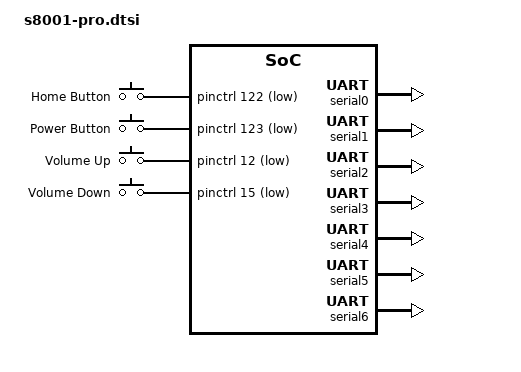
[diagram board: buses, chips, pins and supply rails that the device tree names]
// SPDX-License-Identifier: GPL-2.0+ OR MIT
/*
 * Apple iPad Pro common device tree
 *
 * Copyright (c) 2022, Konrad Dybcio <konrad.dybcio@somainline.org>
 */

#include "s8001.dtsi"
#include <dt-bindings/input/input.h>

/ {
	gpio-keys {
		compatible = "gpio-keys";
		#address-cells = <1>;
		#size-cells = <0>;

		home {
			label = "Home Button";
			gpios = <&pinctrl 122 GPIO_ACTIVE_LOW>;
			linux,code = <KEY_LEFTMETA>;
		};

		power {
			label = "Power Button";
			gpios = <&pinctrl 123 GPIO_ACTIVE_LOW>;
			linux,code = <KEY_POWER>;
		};

		volume-up {
			label = "Volume Up";
			gpios = <&pinctrl 12 GPIO_ACTIVE_LOW>;
			linux,code = <KEY_VOLUMEUP>;
		};

		volume-down {
			label = "Volume Down";
			gpios = <&pinctrl 15 GPIO_ACTIVE_LOW>;
			linux,code = <KEY_VOLUMEDOWN>;
		};
	};
};

&serial0 {
	status = "okay";
};

&serial1 {
	status = "okay";

	/* BCM4773 GPS */
};

&serial2 {
	status = "okay";

	/* BCM4355 "simbaa" UART+PCIe (?) Wi-Fi */
};

&serial3 {
	status = "okay";

	/* BCM4355 HCI Bluetooth */
};

&serial4 {
	status = "okay";

	/* Apple Stockholm */
};

&serial5 {
	status = "okay";

	/* BQ27540 fuel gauge */
};

&serial6 {
	status = "okay";

	/* Apple IAP (something related to Lightning?) */
};
